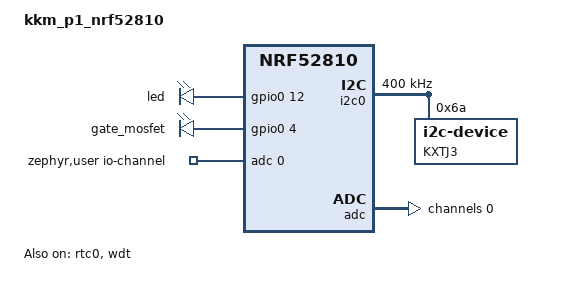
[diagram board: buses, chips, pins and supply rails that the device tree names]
/dts-v1/;
#include <nordic/nrf52810_qfaa.dtsi>
#include "kkm_p1_nrf52810-pinctrl.dtsi"

/ {
	model = "kkm_p1_nrf52810";
	compatible = "KKM,kkm-p1-nrf52810";

	chosen {
		zephyr,sram = &sram0;
		zephyr,flash = &flash0;
		zephyr,code-partition = &slot0_partition;
	};
  leds {
    compatible = "gpio-leds";
    led0: led_0 {
      gpios = <&gpio0 12 GPIO_ACTIVE_HIGH>;
      label = "led";
    };
    led1: led_1 {
      gpios = <&gpio0 4 GPIO_ACTIVE_HIGH>;
      label = "gate_mosfet";
    };
  };
  zephyr,user {
    io-channels = <&adc 0>;
  };
};

&flash0 {
	partitions {
		compatible = "fixed-partitions";
		#address-cells = <1>;
		#size-cells = <1>;

		boot_partition: partition@0 {
			label = "mcuboot";
			reg = <0x00000000 DT_SIZE_K(48)>;
		};

		slot0_partition: partition@c000 {
			label = "image-0";
			reg = <0x0000c000 DT_SIZE_K(56)>;
		};

		slot1_partition: partition@1a000 {
			label = "image-1";
			reg = <0x0001a000 DT_SIZE_K(56)>;
		};

		storage_partition: partition@28000 {
			label = "storage";
			reg = <0x00028000 DT_SIZE_K(32)>;
		};

	};
};

&reg {
    regulator-initial-mode = <NRF5X_REG_MODE_DCDC>;
};

&uicr {
  gpio-as-nreset;
};

&gpiote {
  status = "okay";
};

&gpio0 {
  status = "okay";
};

&i2c0 {
  compatible = "nordic,nrf-twim";
  status = "okay";
  clock-frequency = <I2C_BITRATE_FAST>;
  pinctrl-0 = <&i2c0_default>;
  pinctrl-1 = <&i2c0_sleep>;
  pinctrl-names = "default", "sleep";
  kxtj3: kxtj3@6a {
    compatible = "i2c-device";
    label = "KXTJ3";
    reg = <0x6a>;
  };
};

&rtc1 {
  status = "disabled";
};

&rtc0 {
  status = "okay";
};

&timer0 {
  status = "disabled";
};

&wdt {
  status = "okay";
};

&adc {
  #address-cells = <1>;
  #size-cells = <0>;
  status="okay";

  channel@0 {
    reg = <0>;
    zephyr,gain = "ADC_GAIN_1_6";
    zephyr,reference = "ADC_REF_INTERNAL";
    zephyr,acquisition-time = <ADC_ACQ_TIME_DEFAULT>;
    zephyr,input-positive = <NRF_SAADC_VDD>;
    zephyr,resolution = <14>;
    zephyr,oversampling = <8>;
  };

  zephyr,pm-device-runtime-auto;
};

